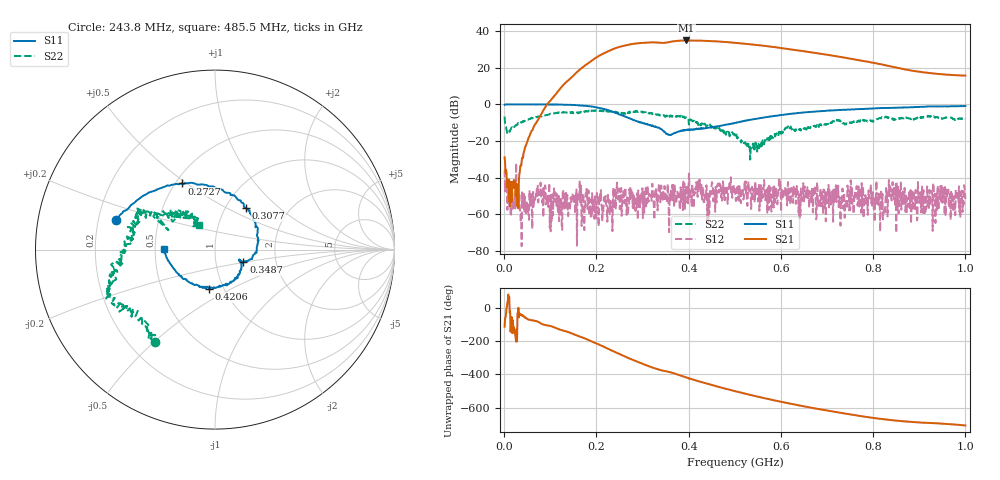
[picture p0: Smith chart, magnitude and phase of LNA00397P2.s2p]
! Created with skrf 1.9.0 (http://scikit-rf.org).
# Hz S RI R 50.0
!freq ReS11 ImS11 ReS21 ImS21 ReS12 ImS12 ReS22 ImS22
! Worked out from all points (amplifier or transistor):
!   1001 points, 1 MHz to 1 GHz, reference 50 ohm
!   highest |S21| = 35.0 dB at 394.6 MHz (marker M1)
!   |S21| within 3 dB of that: 257.6 MHz to 565.7 MHz (308.1 MHz wide, 74.9 % of centre)
!   unconditionally stable (mu >= 1): 249.8 MHz to 320.6 MHz; 321.1 MHz to 388.6 MHz; 388.6 MHz to end of sweep (the widest 3 of 41)
!   at 166.8 MHz: K = 0.29, MSG = 32.0 dB, |S12| = -44.4 dB
!   at 500.5 MHz: K = 1.93, MAG = 34.4 dB, |S12| = -46.2 dB
!   at 1 GHz: K = 4.28, MAG = 24.5 dB, |S12| = -51.7 dB
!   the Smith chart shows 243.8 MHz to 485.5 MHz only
!   S11 on the Smith chart (normalised r, x): 243.8 MHz: 0.27, +0.13; 272.7 MHz: 0.54, +0.48; 307.7 MHz: 1.24, +0.62; 348.7 MHz: 1.36, -0.20; 420.6 MHz: 0.85, -0.39; 485.5 MHz: 0.56, +0.00
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1000000  0.9748 -0.00438  -0.0147 -0.0326  -0.0161 0.00165  0.3361 0.3229
1.08892e8  0.5211 -0.8481  -0.8156 -1.508  0.000267 0.00226  0.425 -0.3816
1.67833e8  -0.2284 -0.9045  -9.804 -0.5581  -0.000374 -0.000297  0.0302 -0.6207
2.09791e8  -0.6817 -0.3871  -15.59 16.52  0.00378 0.00256  -0.2412 -0.6343
2.43757e8  -0.5539 0.163  0.4505 35.26  -0.00426 -0.00159  -0.3331 -0.5161
2.72728e8  -0.1866 0.3688  25.65 35.45  -0.00113 0.00231  -0.5459 -0.322
3.07693e8  0.1723 0.2301  47.25 12.84  -0.000651 -0.00136  -0.55 -0.1658
3.34666e8  0.2322 -0.000388  47.96 -9.387  -0.00513 -0.00027  -0.5321 -0.0132
3.48652e8  0.1586 -0.0697  45.38 -16.67  -0.002 0.00414  -0.4777 0.038
3.7063e8  0.1477 -0.0752  43.53 -32.03  -0.00325 0.00093  -0.4209 0.1554
3.94606e8  0.1043 -0.175  29.24 -47.73  0.000212 0.00552  -0.3869 0.213
4.2058e8  -0.0338 -0.2183  8.727 -54.62  0.00273 0.0075  -0.2061 0.182
4.5055e8  -0.1841 -0.1562  -13.12 -52.29  0.00363 0.00663  -0.1761 0.1783
4.85515e8  -0.285 0.00144  -32.18 -38.44  0.003 0.0027  -0.0892 0.1345
5.005e8  -0.302 0.0873  -37.85 -30.47  0.00288 0.00396  -0.0739 0.1212
5.4046e8  -0.2476 0.3056  -42.01 -9.06  0.00326 -0.00252  -0.0601 0.0207
5.88412e8  -0.0584 0.4878  -34.73 11.16  0.00477 -0.00326  -0.1202 -0.0808
6.28372e8  0.1312 0.5537  -23.68 19.97  -0.00214 -0.00244  -0.1773 -0.1056
6.67333e8  0.3231 0.5401  -12.61 22.9  -5.9e-05 -0.00495  -0.2516 -0.0387
7.51249e8  0.6224 0.3786  3.337 17.49  0.000123 -0.00846  -0.307 0.0559
8.34166e8  0.7877 0.1471  7.661 8.21  -0.00576 -0.00638  -0.3962 0.1457
1e9  0.8208 -0.3879  5.975 1.427  0.000391 0.00256  -0.0996 0.3916
